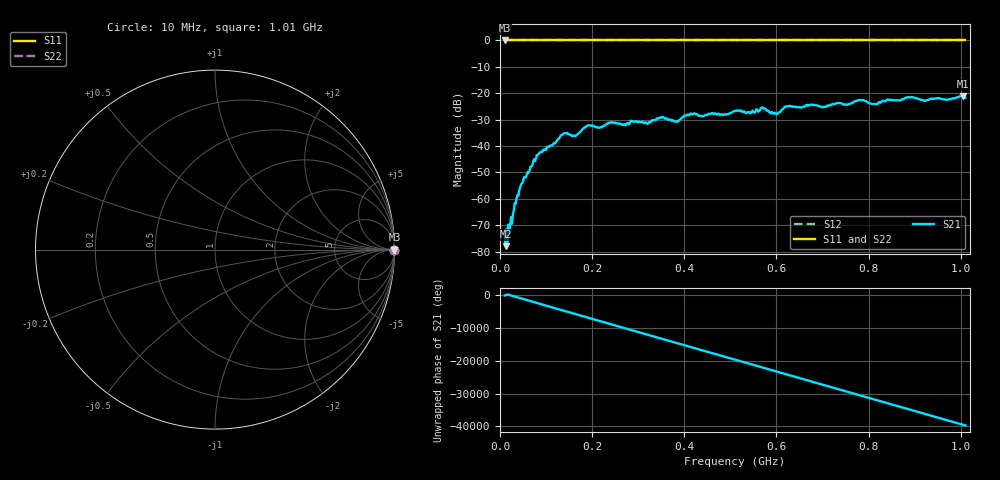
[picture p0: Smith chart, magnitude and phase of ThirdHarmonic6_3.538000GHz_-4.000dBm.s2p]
! 8/17/2025 11:38:41 AM
! C:\ANRITSUVNA\TEMP\TEMP.S2P
! CHANNEL.1
! TR.MEASUREMENT
! RAW.DATA
! RF.CORRECTION.OFF
! AVERAGING.OFF
! IF.BANDWIDTH: 5KHZ
! SWEEPTYPE:  FREQ.SWEEP(Linear)
! Reference Plane Port Info
! PORT:  PORT1  PORT2
! DISTANCE:  0  m  0  m
! TIME:  0  s  0  s
! PHASE.OFFSET:  0  deg.  0  deg.
! LOSS:  0  dB  0  dB
! REF.LOSS:  0  dB  0  dB
! REF.FREQ:  0  Hz  0  Hz
! Power Info
! POWER:  -20  dBm  -20  dBm
! EFF.POWER:  -20  dBm  -20  dBm
! SOURCE.ATTEN:  0  dB  0  dB
! TEST.ATTEN:  0  dB  0  dB
# GHZ S RI R 50.0
! FREQ.GHZ  S11RE  S11IM  S21RE  S21IM  S12RE  S12IM  S22RE  S22IM
!; PortSelection: Port_12
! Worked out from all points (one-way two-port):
!   501 points, 10 MHz to 1.01 GHz, reference 50 ohm
!   highest |S21| = -21.09 dB at 1.004 GHz (marker M1); lowest = -77.9 dB at 12 MHz (marker M2)
!   lowest |S11| = 0.0 dB at 10 MHz (marker M3)
!   |S11| at or under -10 dB: nowhere
!   |S22| runs from 0.0 to 0.0 dB; largest |S21 - S12| = 1.1
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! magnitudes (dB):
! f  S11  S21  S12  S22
! 10 MHz  0.0  -72.5  0.0  0.0
! 12 MHz  0.0  -77.9  0.0  0.0
! 16 MHz  0.0  -76.4  0.0  0.0
! 48 MHz  0.0  -54.1  0.0  0.0
! 84 MHz  0.0  -43.0  0.0  0.0
! 136 MHz  0.0  -35.6  0.0  0.0
! 162 MHz  0.0  -36.1  0.0  0.0
! 178 MHz  0.0  -33.8  0.0  0.0
! 194 MHz  0.0  -32.1  0.0  0.0
! 318 MHz  0.0  -31.2  0.0  0.0
! 344 MHz  0.0  -29.5  0.0  0.0
! 382 MHz  0.0  -30.7  0.0  0.0
! 418 MHz  0.0  -28.0  0.0  0.0
! 510 MHz  0.0  -26.7  0.0  0.0
! 570 MHz  0.0  -25.4  0.0  0.0
! 598 MHz  0.0  -27.6  0.0  0.0
! 622 MHz  0.0  -25.0  0.0  0.0
! 678 MHz  0.0  -24.4  0.0  0.0
! 814 MHz  0.0  -24.0  0.0  0.0
! 844 MHz  0.0  -22.5  0.0  0.0
! 1.004 GHz  0.0  -21.1  0.0  0.0
! 1.01 GHz  0.0  -21.7  0.0  0.0
